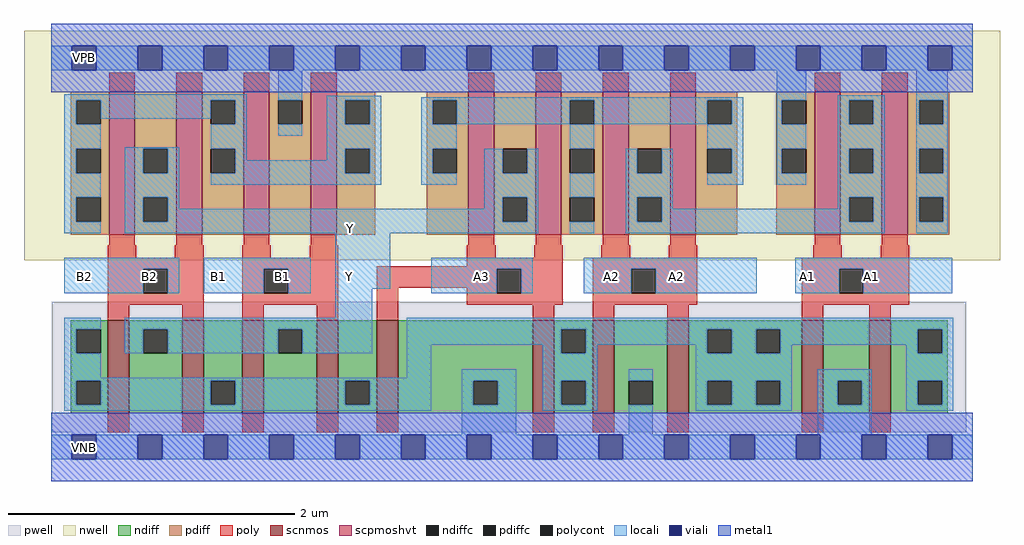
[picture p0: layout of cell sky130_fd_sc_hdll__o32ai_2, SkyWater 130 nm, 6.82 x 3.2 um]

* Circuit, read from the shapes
.subckt sky130_fd_sc_hdll__o32ai_2 A1 A2 A3 B1 B2 VGND VNB VPB VPWR Y
XM1 Y B2 n1 VNB sky130_fd_pr__nfet_01v8 w=0.65 l=0.15 m=2
XM2 Y B1 n1 VNB sky130_fd_pr__nfet_01v8 w=0.65 l=0.15 m=2
XM3 VGND A3 n1 VNB sky130_fd_pr__nfet_01v8 w=0.65 l=0.15 m=2
XM4 VGND A2 n1 VNB sky130_fd_pr__nfet_01v8 w=0.65 l=0.15 m=2
XM5 VGND A1 n1 VNB sky130_fd_pr__nfet_01v8 w=0.65 l=0.15 m=2
XM6 Y B2 n2 VPB sky130_fd_pr__pfet_01v8_hvt w=1 l=0.18 m=2
XM7 VPWR B1 n2 VPB sky130_fd_pr__pfet_01v8_hvt w=1 l=0.18 m=2
XM8 Y A3 n3 VPB sky130_fd_pr__pfet_01v8_hvt w=1 l=0.18 m=2
XM9 n4 A2 n3 VPB sky130_fd_pr__pfet_01v8_hvt w=1 l=0.18 m=2
XM10 n4 A1 VPWR VPB sky130_fd_pr__pfet_01v8_hvt w=1 l=0.18 m=2
.ends

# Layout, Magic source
magic
tech sky130A
magscale 1 2
<< nwell >>
rect -38 261 1326 582
<< pwell >>
rect 1 21 1279 203
rect 29 -17 63 21
<< scnmos >>
rect 79 47 109 177
rect 183 47 213 177
rect 267 47 297 177
rect 371 47 401 177
rect 455 47 485 177
rect 673 47 703 177
rect 757 47 787 177
rect 861 47 891 177
rect 1049 47 1079 177
rect 1143 47 1173 177
<< scpmoshvt >>
rect 81 297 117 497
rect 175 297 211 497
rect 269 297 305 497
rect 363 297 399 497
rect 583 297 619 497
rect 677 297 713 497
rect 771 297 807 497
rect 865 297 901 497
rect 1067 297 1103 497
rect 1161 297 1197 497
<< ndiff >>
rect 27 165 79 177
rect 27 131 35 165
rect 69 131 79 165
rect 27 93 79 131
rect 27 59 35 93
rect 69 59 79 93
rect 27 47 79 59
rect 109 165 183 177
rect 109 131 129 165
rect 163 131 183 165
rect 109 47 183 131
rect 213 93 267 177
rect 213 59 223 93
rect 257 59 267 93
rect 213 47 267 59
rect 297 165 371 177
rect 297 131 317 165
rect 351 131 371 165
rect 297 47 371 131
rect 401 93 455 177
rect 401 59 411 93
rect 445 59 455 93
rect 401 47 455 59
rect 485 93 673 177
rect 485 59 590 93
rect 624 59 673 93
rect 485 47 673 59
rect 703 165 757 177
rect 703 131 713 165
rect 747 131 757 165
rect 703 93 757 131
rect 703 59 713 93
rect 747 59 757 93
rect 703 47 757 59
rect 787 93 861 177
rect 787 59 807 93
rect 841 59 861 93
rect 787 47 861 59
rect 891 165 1049 177
rect 891 131 917 165
rect 951 131 985 165
rect 1019 131 1049 165
rect 891 93 1049 131
rect 891 59 917 93
rect 951 59 985 93
rect 1019 59 1049 93
rect 891 47 1049 59
rect 1079 93 1143 177
rect 1079 59 1099 93
rect 1133 59 1143 93
rect 1079 47 1143 59
rect 1173 165 1253 177
rect 1173 131 1211 165
rect 1245 131 1253 165
rect 1173 93 1253 131
rect 1173 59 1211 93
rect 1245 59 1253 93
rect 1173 47 1253 59
<< pdiff >>
rect 27 485 81 497
rect 27 451 35 485
rect 69 451 81 485
rect 27 417 81 451
rect 27 383 35 417
rect 69 383 81 417
rect 27 349 81 383
rect 27 315 35 349
rect 69 315 81 349
rect 27 297 81 315
rect 117 417 175 497
rect 117 383 129 417
rect 163 383 175 417
rect 117 349 175 383
rect 117 315 129 349
rect 163 315 175 349
rect 117 297 175 315
rect 211 485 269 497
rect 211 451 223 485
rect 257 451 269 485
rect 211 417 269 451
rect 211 383 223 417
rect 257 383 269 417
rect 211 297 269 383
rect 305 485 363 497
rect 305 451 317 485
rect 351 451 363 485
rect 305 297 363 451
rect 399 485 453 497
rect 399 451 411 485
rect 445 451 453 485
rect 399 417 453 451
rect 399 383 411 417
rect 445 383 453 417
rect 399 297 453 383
rect 525 485 583 497
rect 525 451 533 485
rect 567 451 583 485
rect 525 417 583 451
rect 525 383 533 417
rect 567 383 583 417
rect 525 297 583 383
rect 619 417 677 497
rect 619 383 631 417
rect 665 383 677 417
rect 619 349 677 383
rect 619 315 631 349
rect 665 315 677 349
rect 619 297 677 315
rect 713 485 771 497
rect 713 451 725 485
rect 759 451 771 485
rect 713 417 771 451
rect 713 383 725 417
rect 759 383 771 417
rect 713 349 771 383
rect 713 315 725 349
rect 759 315 771 349
rect 713 297 771 315
rect 807 417 865 497
rect 807 383 819 417
rect 853 383 865 417
rect 807 349 865 383
rect 807 315 819 349
rect 853 315 865 349
rect 807 297 865 315
rect 901 485 959 497
rect 901 451 917 485
rect 951 451 959 485
rect 901 417 959 451
rect 901 383 917 417
rect 951 383 959 417
rect 901 297 959 383
rect 1013 485 1067 497
rect 1013 451 1021 485
rect 1055 451 1067 485
rect 1013 417 1067 451
rect 1013 383 1021 417
rect 1055 383 1067 417
rect 1013 297 1067 383
rect 1103 485 1161 497
rect 1103 451 1115 485
rect 1149 451 1161 485
rect 1103 417 1161 451
rect 1103 383 1115 417
rect 1149 383 1161 417
rect 1103 349 1161 383
rect 1103 315 1115 349
rect 1149 315 1161 349
rect 1103 297 1161 315
rect 1197 485 1255 497
rect 1197 451 1213 485
rect 1247 451 1255 485
rect 1197 417 1255 451
rect 1197 383 1213 417
rect 1247 383 1255 417
rect 1197 349 1255 383
rect 1197 315 1213 349
rect 1247 315 1255 349
rect 1197 297 1255 315
<< ndiffc >>
rect 35 131 69 165
rect 35 59 69 93
rect 129 131 163 165
rect 223 59 257 93
rect 317 131 351 165
rect 411 59 445 93
rect 590 59 624 93
rect 713 131 747 165
rect 713 59 747 93
rect 807 59 841 93
rect 917 131 951 165
rect 985 131 1019 165
rect 917 59 951 93
rect 985 59 1019 93
rect 1099 59 1133 93
rect 1211 131 1245 165
rect 1211 59 1245 93
<< pdiffc >>
rect 35 451 69 485
rect 35 383 69 417
rect 35 315 69 349
rect 129 383 163 417
rect 129 315 163 349
rect 223 451 257 485
rect 223 383 257 417
rect 317 451 351 485
rect 411 451 445 485
rect 411 383 445 417
rect 533 451 567 485
rect 533 383 567 417
rect 631 383 665 417
rect 631 315 665 349
rect 725 451 759 485
rect 725 383 759 417
rect 725 315 759 349
rect 819 383 853 417
rect 819 315 853 349
rect 917 451 951 485
rect 917 383 951 417
rect 1021 451 1055 485
rect 1021 383 1055 417
rect 1115 451 1149 485
rect 1115 383 1149 417
rect 1115 315 1149 349
rect 1213 451 1247 485
rect 1213 383 1247 417
rect 1213 315 1247 349
<< poly >>
rect 81 497 117 523
rect 175 497 211 523
rect 269 497 305 523
rect 363 497 399 523
rect 583 497 619 523
rect 677 497 713 523
rect 771 497 807 523
rect 865 497 901 523
rect 1067 497 1103 523
rect 1161 497 1197 523
rect 81 282 117 297
rect 175 282 211 297
rect 269 282 305 297
rect 363 282 399 297
rect 583 282 619 297
rect 677 282 713 297
rect 771 282 807 297
rect 865 282 901 297
rect 1067 282 1103 297
rect 1161 282 1197 297
rect 79 265 119 282
rect 173 265 213 282
rect 79 249 213 265
rect 79 215 129 249
rect 163 215 213 249
rect 79 199 213 215
rect 79 177 109 199
rect 183 177 213 199
rect 267 265 307 282
rect 361 265 401 282
rect 267 249 401 265
rect 581 265 621 282
rect 675 265 715 282
rect 769 265 809 282
rect 863 265 903 282
rect 1065 265 1105 282
rect 1159 265 1199 282
rect 581 253 715 265
rect 267 215 297 249
rect 331 215 401 249
rect 267 199 401 215
rect 267 177 297 199
rect 371 177 401 199
rect 455 249 715 253
rect 455 223 623 249
rect 455 177 485 223
rect 581 215 623 223
rect 657 215 715 249
rect 581 199 715 215
rect 757 249 903 265
rect 757 215 811 249
rect 845 215 903 249
rect 757 199 903 215
rect 1049 249 1199 265
rect 1049 215 1101 249
rect 1135 215 1199 249
rect 1049 199 1199 215
rect 673 177 703 199
rect 757 177 787 199
rect 861 177 891 199
rect 1049 177 1079 199
rect 1143 177 1173 199
rect 79 21 109 47
rect 183 21 213 47
rect 267 21 297 47
rect 371 21 401 47
rect 455 21 485 47
rect 673 21 703 47
rect 757 21 787 47
rect 861 21 891 47
rect 1049 21 1079 47
rect 1143 21 1173 47
<< polycont >>
rect 129 215 163 249
rect 297 215 331 249
rect 623 215 657 249
rect 811 215 845 249
rect 1101 215 1135 249
<< locali >>
rect 0 527 29 561
rect 63 527 121 561
rect 155 527 213 561
rect 247 527 305 561
rect 339 527 397 561
rect 431 527 489 561
rect 523 527 581 561
rect 615 527 673 561
rect 707 527 765 561
rect 799 527 857 561
rect 891 527 949 561
rect 983 527 1041 561
rect 1075 527 1133 561
rect 1167 527 1225 561
rect 1259 527 1288 561
rect 18 485 273 493
rect 18 451 35 485
rect 69 459 223 485
rect 18 417 69 451
rect 257 451 273 485
rect 18 383 35 417
rect 18 349 69 383
rect 18 315 35 349
rect 18 299 69 315
rect 103 417 179 419
rect 103 383 129 417
rect 163 383 179 417
rect 103 349 179 383
rect 223 417 273 451
rect 317 485 351 527
rect 317 435 351 451
rect 385 485 461 491
rect 385 451 411 485
rect 445 451 461 485
rect 257 401 273 417
rect 385 417 461 451
rect 385 401 411 417
rect 257 383 411 401
rect 445 383 461 417
rect 223 367 461 383
rect 517 485 967 489
rect 517 451 533 485
rect 567 451 725 485
rect 759 451 917 485
rect 951 451 967 485
rect 517 417 567 451
rect 725 417 759 451
rect 917 417 967 451
rect 517 383 533 417
rect 517 367 567 383
rect 605 383 631 417
rect 665 383 681 417
rect 103 315 129 349
rect 163 333 179 349
rect 605 349 681 383
rect 605 333 631 349
rect 163 315 631 333
rect 665 315 681 349
rect 103 299 681 315
rect 725 349 759 383
rect 725 299 759 315
rect 803 383 819 417
rect 853 383 869 417
rect 803 349 869 383
rect 951 383 967 417
rect 917 367 967 383
rect 1014 485 1055 527
rect 1014 451 1021 485
rect 1014 417 1055 451
rect 1014 383 1021 417
rect 1014 367 1055 383
rect 1099 485 1165 492
rect 1099 451 1115 485
rect 1149 451 1165 485
rect 1099 417 1165 451
rect 1099 383 1115 417
rect 1149 383 1165 417
rect 803 315 819 349
rect 853 333 869 349
rect 1099 349 1165 383
rect 1099 333 1115 349
rect 853 315 1115 333
rect 1149 315 1165 349
rect 803 299 1165 315
rect 1209 485 1253 527
rect 1209 451 1213 485
rect 1247 451 1253 485
rect 1209 417 1253 451
rect 1209 383 1213 417
rect 1247 383 1253 417
rect 1209 349 1253 383
rect 1209 315 1213 349
rect 1247 315 1253 349
rect 1209 299 1253 315
rect 18 249 179 265
rect 18 215 129 249
rect 163 215 179 249
rect 213 249 363 265
rect 213 215 297 249
rect 331 215 363 249
rect 397 221 474 299
rect 531 249 673 265
rect 397 181 449 221
rect 531 215 623 249
rect 657 215 673 249
rect 744 249 986 265
rect 744 215 811 249
rect 845 215 986 249
rect 1040 249 1259 265
rect 1040 215 1101 249
rect 1135 215 1259 249
rect 18 165 69 181
rect 18 131 35 165
rect 103 165 449 181
rect 103 131 129 165
rect 163 131 317 165
rect 351 131 449 165
rect 497 165 1261 181
rect 497 143 713 165
rect 18 97 69 131
rect 497 97 531 143
rect 687 131 713 143
rect 747 143 917 165
rect 747 131 763 143
rect 18 93 531 97
rect 18 59 35 93
rect 69 59 223 93
rect 257 59 411 93
rect 445 59 531 93
rect 18 51 531 59
rect 574 93 650 109
rect 574 59 590 93
rect 624 59 650 93
rect 574 17 650 59
rect 687 93 763 131
rect 901 131 917 143
rect 951 131 985 165
rect 1019 143 1211 165
rect 1019 131 1035 143
rect 687 59 713 93
rect 747 59 763 93
rect 687 51 763 59
rect 807 93 841 109
rect 807 17 841 59
rect 901 93 1035 131
rect 1195 131 1211 143
rect 1245 131 1261 165
rect 901 59 917 93
rect 951 59 985 93
rect 1019 59 1035 93
rect 901 51 1035 59
rect 1071 93 1147 109
rect 1071 59 1099 93
rect 1133 59 1147 93
rect 1071 17 1147 59
rect 1195 93 1261 131
rect 1195 59 1211 93
rect 1245 59 1261 93
rect 1195 51 1261 59
rect 0 -17 29 17
rect 63 -17 121 17
rect 155 -17 213 17
rect 247 -17 305 17
rect 339 -17 397 17
rect 431 -17 489 17
rect 523 -17 581 17
rect 615 -17 673 17
rect 707 -17 765 17
rect 799 -17 857 17
rect 891 -17 949 17
rect 983 -17 1041 17
rect 1075 -17 1133 17
rect 1167 -17 1225 17
rect 1259 -17 1288 17
<< viali >>
rect 29 527 63 561
rect 121 527 155 561
rect 213 527 247 561
rect 305 527 339 561
rect 397 527 431 561
rect 489 527 523 561
rect 581 527 615 561
rect 673 527 707 561
rect 765 527 799 561
rect 857 527 891 561
rect 949 527 983 561
rect 1041 527 1075 561
rect 1133 527 1167 561
rect 1225 527 1259 561
rect 29 -17 63 17
rect 121 -17 155 17
rect 213 -17 247 17
rect 305 -17 339 17
rect 397 -17 431 17
rect 489 -17 523 17
rect 581 -17 615 17
rect 673 -17 707 17
rect 765 -17 799 17
rect 857 -17 891 17
rect 949 -17 983 17
rect 1041 -17 1075 17
rect 1133 -17 1167 17
rect 1225 -17 1259 17
<< metal1 >>
rect 0 561 1288 592
rect 0 527 29 561
rect 63 527 121 561
rect 155 527 213 561
rect 247 527 305 561
rect 339 527 397 561
rect 431 527 489 561
rect 523 527 581 561
rect 615 527 673 561
rect 707 527 765 561
rect 799 527 857 561
rect 891 527 949 561
rect 983 527 1041 561
rect 1075 527 1133 561
rect 1167 527 1225 561
rect 1259 527 1288 561
rect 0 496 1288 527
rect 0 17 1288 48
rect 0 -17 29 17
rect 63 -17 121 17
rect 155 -17 213 17
rect 247 -17 305 17
rect 339 -17 397 17
rect 431 -17 489 17
rect 523 -17 581 17
rect 615 -17 673 17
rect 707 -17 765 17
rect 799 -17 857 17
rect 891 -17 949 17
rect 983 -17 1041 17
rect 1075 -17 1133 17
rect 1167 -17 1225 17
rect 1259 -17 1288 17
rect 0 -48 1288 -17
<< labels >>
flabel locali s 1130 221 1164 255 0 FreeSans 250 0 0 0 A1
port 1 nsew signal input
flabel locali s 217 221 251 255 0 FreeSans 250 0 0 0 B1
port 4 nsew signal input
flabel locali s 857 221 891 255 0 FreeSans 250 0 0 0 A2
port 2 nsew signal input
flabel locali s 1040 221 1074 255 0 FreeSans 250 0 0 0 A1
port 1 nsew signal input
flabel locali s 766 221 800 255 0 FreeSans 250 0 0 0 A2
port 2 nsew signal input
flabel locali s 584 221 618 255 0 FreeSans 250 0 0 0 A3
port 3 nsew signal input
flabel locali s 400 221 434 255 0 FreeSans 250 0 0 0 Y
port 10 nsew signal output
flabel locali s 401 289 435 323 0 FreeSans 250 0 0 0 Y
port 10 nsew signal output
flabel locali s 306 221 340 255 0 FreeSans 250 0 0 0 B1
port 4 nsew signal input
flabel locali s 121 221 155 255 0 FreeSans 250 0 0 0 B2
port 5 nsew signal input
flabel locali s 30 221 64 255 0 FreeSans 250 0 0 0 B2
port 5 nsew signal input
flabel nwell s 29 527 63 561 0 FreeSans 200 0 0 0 VPB
port 8 nsew power bidirectional
flabel pwell s 29 -17 63 17 0 FreeSans 200 0 0 0 VNB
port 7 nsew ground bidirectional
flabel metal1 s 29 -17 63 17 0 FreeSans 200 0 0 0 VGND
port 6 nsew ground bidirectional
flabel metal1 s 29 527 63 561 0 FreeSans 200 0 0 0 VPWR
port 9 nsew power bidirectional
rlabel comment s 0 0 0 0 4 o32ai_2
<< properties >>
string LEFsite unithd
string LEFclass CORE
string FIXED_BBOX 0 0 1288 544
string GDS_FILE $PDKPATH/libs.ref/sky130_fd_sc_hdll/gds/sky130_fd_sc_hdll.gds
string LEFsymmetry X Y R90
string GDS_END 743040
string GDS_START 732696
string LEFproperties maskLayoutSubType "abstract" prCellType "standard" originalViewName "layout"
<< end >>
